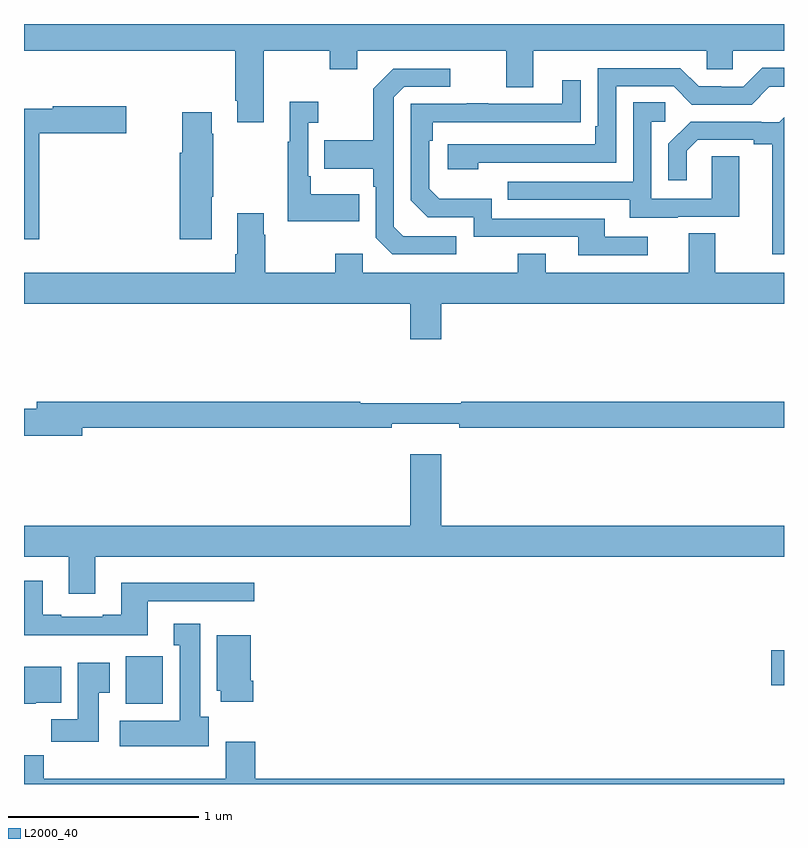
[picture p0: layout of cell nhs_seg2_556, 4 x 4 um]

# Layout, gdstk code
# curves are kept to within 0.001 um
import gdstk
lib = gdstk.Library(unit=1e-6, precision=1e-09)
def R(c, l, rs):  # rectangles x0, y0, x1, y1
    for r in rs: c.add(gdstk.rectangle(r[:2], r[2:], *l))
def P(c, l, *ps):  # polygons
    for p in ps: c.add(gdstk.Polygon(p, *l))
L2000_40 = (2000, 40)

nhs_seg2_556 = lib.new_cell('nhs_seg2_556')
R(nhs_seg2_556, L2000_40, [(139.535,620.222,139.731,620.473), (142.932,620.321,143,620.504)])
P(nhs_seg2_556, L2000_40, [(140.263,623.66),(140.608,623.66),(140.608,623.561),(140.755,623.561),(140.755,623.66),(141.539,623.66),(141.539,623.466),(141.679,623.466),(141.679,623.66),(142.593,623.66),(142.593,623.562),(142.731,623.562),(142.731,623.66),(143,623.66),(143,623.8),(139,623.8),(139,623.66),(140.111,623.66),(140.111,623.395),(140.123,623.395),(140.123,623.283),(140.263,623.283)],
  [(141.392,623.07),(142.116,623.07),(142.116,623.472),(142.419,623.472),(142.515,623.376),(142.83,623.376),(142.923,623.469),(143,623.469),(143,623.569),(142.885,623.569),(142.785,623.469),(142.67,623.469),(142.67,623.472),(142.551,623.472),(142.455,623.568),(142.02,623.568),(142.02,623.263),(142.007,623.263),(142.007,623.166),(141.231,623.166),(141.231,623.036),(141.392,623.036)],
  [(141.274,622.683),(140.997,622.683),(140.946,622.734),(140.946,623.415),(141,623.469),(141.244,623.469),(141.244,623.565),(140.943,623.565),(140.838,623.459),(140.838,623.187),(140.581,623.187),(140.581,623.039),(140.838,623.039),(140.838,622.943),(140.85,622.943),(140.85,622.674),(140.937,622.587),(141.274,622.587)],
  [(142.282,622.68),(142.057,622.68),(142.057,622.776),(141.462,622.776),(141.462,622.879),(141.185,622.879),(141.132,622.932),(141.132,623.186),(141.152,623.186),(141.152,623.283),(141.929,623.284),(141.929,623.503),(141.833,623.503),(141.833,623.379),(141.443,623.379),(141.443,623.384),(141.331,623.384),(141.331,623.379),(141.036,623.379),(141.036,622.872),(141.126,622.782),(141.366,622.782),(141.366,622.68),(141.917,622.68),(141.917,622.584),(142.282,622.584)],
  [(140.765,622.903),(140.509,622.903),(140.509,622.999),(140.496,622.999),(140.496,623.279),(140.548,623.279),(140.548,623.392),(140.399,623.392),(140.399,623.179),(140.388,623.179),(140.388,622.763),(140.765,622.763)],
  [(142.441,622.785),(142.765,622.785),(142.765,623.105),(142.62,623.105),(142.62,622.881),(142.302,622.881),(142.302,623.286),(142.375,623.286),(142.375,623.387),(142.206,623.387),(142.206,622.971),(141.547,622.971),(141.547,622.875),(142.187,622.875),(142.187,622.781),(142.441,622.781)],
  [(139.079,623.225),(139.537,623.225),(139.537,623.367),(139.152,623.367),(139.152,623.355),(139,623.355),(139,622.668),(139.079,622.668)],
  [(139.987,622.891),(139.995,622.891),(139.995,623.222),(139.987,623.222),(139.987,623.335),(139.832,623.335),(139.832,623.122),(139.82,623.122),(139.82,622.668),(139.987,622.668)],
  [(143,623.309),(142.974,623.283),(142.88,623.283),(142.88,623.286),(142.508,623.286),(142.392,623.17),(142.392,622.977),(142.489,622.977),(142.489,623.133),(142.546,623.19),(142.841,623.19),(142.841,623.168),(142.937,623.168),(142.937,622.587),(143,622.587)],
  [(141.196,622.328),(143,622.328),(143,622.492),(142.639,622.492),(142.639,622.7),(142.499,622.7),(142.499,622.492),(141.745,622.492),(141.745,622.591),(141.598,622.591),(141.598,622.492),(140.784,622.492),(140.784,622.591),(140.638,622.591),(140.638,622.492),(140.271,622.492),(140.271,622.691),(140.263,622.691),(140.263,622.804),(140.123,622.804),(140.123,622.588),(140.111,622.588),(140.111,622.492),(139,622.492),(139,622.328),(141.032,622.328),(141.032,622.14),(141.196,622.14)],
  [(139.306,621.676),(140.936,621.676),(140.936,621.695),(141.292,621.695),(141.292,621.676),(143,621.676),(143,621.812),(141.302,621.812),(141.302,621.805),(140.771,621.805),(140.771,621.812),(139.067,621.812),(139.067,621.776),(139,621.776),(139,621.634),(139.306,621.634)],
  [(139.375,620.996),(143,620.996),(143,621.16),(141.196,621.16),(141.196,621.535),(141.032,621.535),(141.032,621.16),(139,621.16),(139,620.996),(139.235,620.996),(139.235,620.802),(139.375,620.802)],
  [(139.651,620.763),(140.212,620.763),(140.212,620.86),(139.511,620.86),(139.511,620.692),(139.415,620.692),(139.415,620.679),(139.195,620.679),(139.195,620.692),(139.099,620.692),(139.099,620.869),(139,620.869),(139,620.582),(139.651,620.582)],
  [(139.972,620.154),(139.927,620.154),(139.927,620.644),(139.787,620.644),(139.787,620.531),(139.82,620.531),(139.82,620.134),(139.503,620.134),(139.503,620),(139.972,620)],
  [(140.207,620.344),(140.194,620.344),(140.194,620.584),(140.015,620.584),(140.015,620.292),(140.036,620.292),(140.036,620.232),(140.207,620.232)],
  [(139.393,620.281),(139.45,620.281),(139.45,620.437),(139.283,620.437),(139.283,620.14),(139.144,620.14),(139.144,620.022),(139.393,620.022)],
  [(139.062,620.228),(139.195,620.228),(139.195,620.416),(139,620.416),(139,620.222),(139.062,620.222)],
  [(143,619.828),(140.216,619.828),(140.216,620.023),(140.063,620.023),(140.063,619.828),(139.103,619.828),(139.103,619.952),(139,619.952),(139,619.8),(143,619.8)])

lib.write_gds('nhs_seg2_556.gds')
